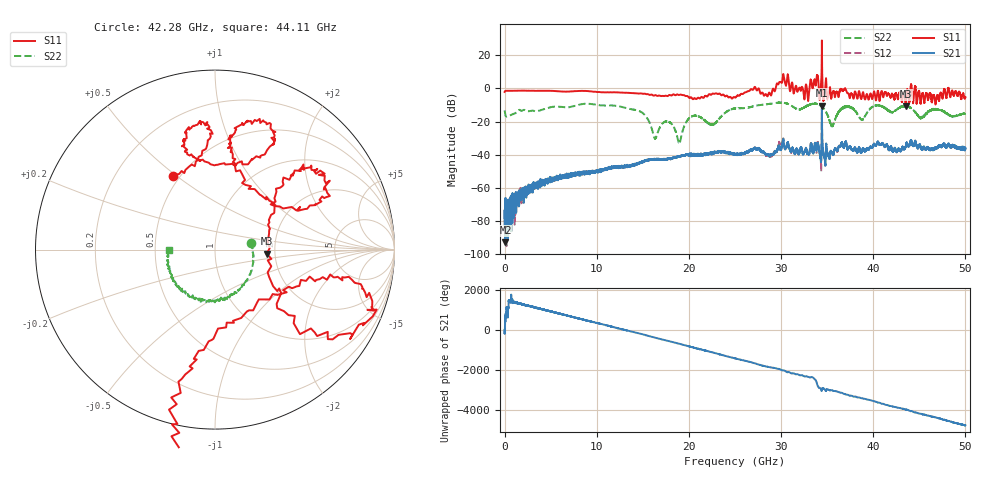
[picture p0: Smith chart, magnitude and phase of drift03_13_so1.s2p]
!Created with skrf (http://scikit-rf.org).
# Hz S RI R 50.0
!freq ReS11 ImS11 ReS21 ImS21 ReS12 ImS12 ReS22 ImS22
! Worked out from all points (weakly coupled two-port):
!   10000 points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, 5.3 MHz to 50 GHz, reference 50 ohm
!   highest |S21| = -10.32 dB at 34.43 GHz (marker M1); lowest = -92.9 dB at 90.3 MHz (marker M2)
!   lowest |S11| = -10.8 dB at 43.53 GHz (marker M3), VSWR 1.81, Z = 90.3 - j4.4 ohm
!   |S11| at or under -10 dB: 43.5085 GHz to 43.53466 GHz (26.17 MHz wide, 0.0601 % of centre); 43.53564 GHz to 43.54311 GHz (7.475 MHz wide, 0.0172 % of centre)
!   |S22| runs from -33.3 to -8.4 dB; largest |S21 - S12| = 0.09
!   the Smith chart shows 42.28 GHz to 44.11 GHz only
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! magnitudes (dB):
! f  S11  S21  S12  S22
! 5.3 MHz  -2.1  -85.6  -73.4  -13.3
! 90.3 MHz  -1.5  -92.9  -75.5  -16.1
! 2.78 GHz  -1.4  -59.7  -60.1  -13.6
! 8.34 GHz  -1.5  -50.8  -51.1  -9.5
! 14.51 GHz  -3.1  -45.1  -45.4  -13.5
! 16.67 GHz  -4.4  -42.6  -42.8  -25.8
! 17.81 GHz  -4.2  -42.4  -42.5  -20.1
! 18.96 GHz  -4.0  -41.0  -40.9  -33.2
! 20.27 GHz  -5.4  -40.1  -40.3  -17.1
! 22.57 GHz  -3.1  -39.2  -39.1  -22.0
! 25.01 GHz  -5.5  -39.3  -39.8  -12.1
! 28.72 GHz  -2.5  -40.5  -40.5  -9.4
! 30.14 GHz  4.4  -33.8  -33.9  -8.6
! 32.74 GHz  2.0  -37.1  -36.4  -10.4
! 33.34 GHz  2.5  -34.8  -35.3  -9.4
! 34.43 GHz  29.0  -10.3  -12.3  -10.9
! 35.54 GHz  -3.1  -39.2  -38.9  -23.0
! 36.98 GHz  -0.1  -32.8  -33.0  -11.1
! 38.76 GHz  -5.7  -38.0  -38.3  -18.9
! 41.67 GHz  -3.2  -37.2  -36.9  -13.2
! 43.53 GHz  -10.8  -34.8  -34.9  -10.6
! 50 GHz  -5.4  -36.1  -36.6  -15.5
